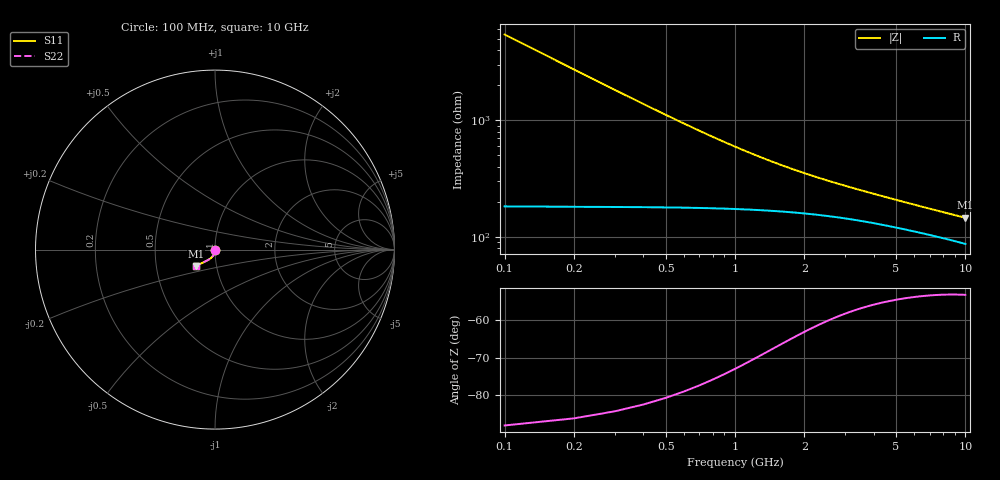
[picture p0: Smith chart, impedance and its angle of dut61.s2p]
! Touchstone file exported from HFSS 2024.1.0
!  File:  C:/UserFiles/LocalFiles/RDL_TSV_Batchsim/temp_TSV1_61_1778749333.aedt
!  Generated:  05:06:31 PM May 14, 2026
!  Design:  TSV1
!  Project:  temp_TSV1_61_1778749333
!  Setup:  Setup1
!  Solution:  Sweep
! Variables:
!  dtsv = 25.38um
!  hbump = 3um
!  htsv = 96.01um
!  lrdl = 252.1521522um
!  p = 40
!  p1 = 56.62um
!  t = 500um
!  trdl = 3um
!  wrdl = 24.89489489um
# GHz S MA R 50.000000
! Terminal data exported
! Port[1] = TSV22_T1
! Port[2] = TSV22_T2
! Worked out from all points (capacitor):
!   100 points, 100 MHz to 10 GHz, reference 50 ohm
!   read as one part in shunt: C = 293 fF near 100 MHz
!   lowest |Z| = 146 ohm at 10 GHz (marker M1)
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0.1  0.004306 -91.1  0.9997 -0.3  0.9997 -0.3  0.004306 -91.1
! Gamma 0 0 0 0
! Port Impedance 50 0 50 0
0.2  0.008582 -93.8  0.9992 -0.6  0.9992 -0.6  0.008582 -93.8
0.3  0.0128 -96.2  0.9984 -0.8  0.9984 -0.8  0.0128 -96.2
0.4  0.01694 -98.3  0.9973 -1.1  0.9973 -1.1  0.01694 -98.3
0.5  0.02098 -100.4  0.9959 -1.3  0.9959 -1.3  0.02098 -100.4
0.6  0.0249 -102.5  0.9943 -1.6  0.9943 -1.6  0.0249 -102.5
0.7  0.02868 -104.4  0.9926 -1.8  0.9926 -1.8  0.02868 -104.4
0.8  0.03231 -106.2  0.9907 -2.0  0.9907 -2.0  0.03231 -106.2
0.9  0.03579 -108.0  0.9887 -2.2  0.9887 -2.2  0.03579 -108.0
1.1  0.04229 -111.3  0.9846 -2.6  0.9846 -2.6  0.04229 -111.3
1.4  0.05089 -115.5  0.9783 -3.1  0.9783 -3.1  0.05089 -115.5
1.6  0.05594 -117.9  0.9743 -3.3  0.9743 -3.3  0.05594 -117.9
1.8  0.0605 -120.0  0.9705 -3.6  0.9705 -3.6  0.0605 -120.0
2.1  0.0666 -122.7  0.9651 -3.9  0.9651 -3.9  0.0666 -122.7
2.5  0.07362 -125.5  0.9586 -4.2  0.9586 -4.2  0.07362 -125.5
2.9  0.07971 -127.7  0.9529 -4.5  0.9529 -4.5  0.07971 -127.7
3.4  0.0864 -129.8  0.9467 -4.9  0.9467 -4.9  0.0864 -129.8
4.2  0.09566 -132.2  0.9382 -5.4  0.9382 -5.4  0.09566 -132.2
5.1  0.1046 -134.1  0.9301 -5.9  0.9301 -5.9  0.1046 -134.1
6.7  0.1181 -136.5  0.9184 -6.8  0.9184 -6.8  0.1181 -136.5
8.4  0.1299 -138.1  0.9085 -7.6  0.9085 -7.6  0.1299 -138.1
10  0.1396 -139.1  0.9008 -8.4  0.9008 -8.4  0.1396 -139.1
